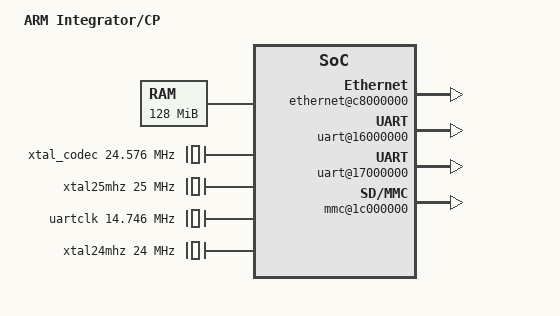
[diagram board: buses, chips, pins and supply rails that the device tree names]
/dts-v1/;
/include/ "integrator.dtsi"

/ {
 model = "ARM Integrator/CP";
 compatible = "arm,integrator-cp";
 #address-cells = <1>;
 #size-cells = <1>;

 chosen {
  bootargs = "root=/dev/ram0 console=ttyAMA0,38400n8 earlyprintk";
 };

 memory {
  device_type = "memory";
  reg = <0x00000000 0x08000000>;
 };

 cpus {
  #address-cells = <1>;
  #size-cells = <0>;

  cpu@0 {
   device_type = "cpu";
   compatible = "arm,arm1136";
   reg = <0>;
  };
 };

 xtal_codec: xtal24.576@24.576M {
  #clock-cells = <0>;
  compatible = "fixed-clock";
  clock-frequency = <24576000>;
 };


 aaci_bitclk: aaci_bitclk@12.288M {
  #clock-cells = <0>;
  compatible = "fixed-factor-clock";
  clock-div = <2>;
  clock-mult = <1>;
  clocks = <&xtal_codec>;
 };


 xtal25mhz: xtal25mhz@25M {
  #clock-cells = <0>;
  compatible = "fixed-clock";
  clock-frequency = <25000000>;
 };


 uartclk: uartclk@14.74M {
  #clock-cells = <0>;
  compatible = "fixed-clock";
  clock-frequency = <14745600>;
 };


 pclk: pclk@0 {
  #clock-cells = <0>;
  compatible = "fixed-clock";
  clock-frequency = <0>;
 };

 core-module@10000000 {

  xtal24mhz: xtal24mhz@24M {
   #clock-cells = <0>;
   compatible = "fixed-clock";
   clock-frequency = <24000000>;
  };





  auxosc: cm_aux_osc@25M {
   #clock-cells = <0>;
   compatible = "arm,integrator-cm-auxosc";
   clocks = <&xtal24mhz>;
  };


  kmiclk: kmiclk@1M {
   #clock-cells = <0>;
   compatible = "fixed-factor-clock";
   clock-div = <3>;
   clock-mult = <1>;
   clocks = <&xtal24mhz>;
  };


  timclk: timclk@1M {
   #clock-cells = <0>;
   compatible = "fixed-factor-clock";
   clock-div = <24>;
   clock-mult = <1>;
   clocks = <&xtal24mhz>;
  };
 };

 /* Not emulated by Qemu
 syscon {
  compatible = "arm,integrator-cp-syscon";
  reg = <0xcb000000 0x100>;
 };
 */

 timer0: timer@13000000 {

  compatible = "arm,integrator-cp-timer";
  clocks = <&xtal25mhz>;
 };

 timer1: timer@13000100 {

  compatible = "arm,integrator-cp-timer";
  clocks = <&timclk>;
 };

 timer2: timer@13000200 {

  compatible = "arm,integrator-cp-timer";
  clocks = <&timclk>;
 };

 pic: pic@14000000 {
  valid-mask = <0x1fc003ff>;
 };

  /* Qemu does not need to know about this device, contained in the core module */
/*
 cic: cic@10000040 {
  compatible = "arm,versatile-fpga-irq";
  #interrupt-cells = <1>;
  interrupt-controller;
  reg = <0x10000040 0x100>;
  clear-mask = <0xffffffff>;
  valid-mask = <0x00000007>;
 };
*/

 sic: sic@ca000000 {
  compatible = "arm,versatile-fpga-irq";
  interrupt-parent = <&pic>;
  interrupts = <26>;
  #interrupt-cells = <1>;
  interrupt-controller;
  reg = <0xca000000 0x100>;
  clear-mask = <0x00000fff>;
  valid-mask = <0x00000fff>;
 };

 ethernet@c8000000 {
  compatible = "smsc,lan91c111";
  reg = <0xc8000000 0x10>;
  interrupt-parent = <&pic>;
  interrupts = <27>;
 };

 fpga {
  rtc@15000000 {
   compatible = "arm,pl031", "arm,primecell";
   clocks = <&pclk>;
   clock-names = "apb_pclk";
  };

  uart@16000000 {
   compatible = "arm,pl011", "arm,primecell";
   clocks = <&uartclk>, <&pclk>;
   clock-names = "uartclk", "apb_pclk";
  };

  uart@17000000 {
   compatible = "arm,pl011", "arm,primecell";
   clocks = <&uartclk>, <&pclk>;
   clock-names = "uartclk", "apb_pclk";
  };

  kmi@18000000 {
   compatible = "arm,pl050", "arm,primecell";
   clocks = <&kmiclk>, <&pclk>;
   clock-names = "KMIREFCLK", "apb_pclk";
  };

  kmi@19000000 {
   compatible = "arm,pl050", "arm,primecell";
   clocks = <&kmiclk>, <&pclk>;
   clock-names = "KMIREFCLK", "apb_pclk";
  };

  mmc@1c000000 {
   compatible = "arm,pl180", "arm,primecell";
   reg = <0x1c000000 0x1000>;
   interrupts = <23 24>;
   max-frequency = <515633>;
   clocks = <&uartclk>, <&pclk>;
   clock-names = "mclk", "apb_pclk";
  };

  aaci@1d000000 {
   compatible = "arm,pl041", "arm,primecell";
   reg = <0x1d000000 0x1000>;
   interrupts = <25>;
   clocks = <&pclk>;
   clock-names = "apb_pclk";
  };

  clcd@c0000000 {
   compatible = "arm,pl110", "arm,primecell";
   reg = <0xC0000000 0x1000>;
   interrupts = <22>;
   clocks = <&auxosc>, <&pclk>;
   clock-names = "clcd", "apb_pclk";
  };
 };
};
